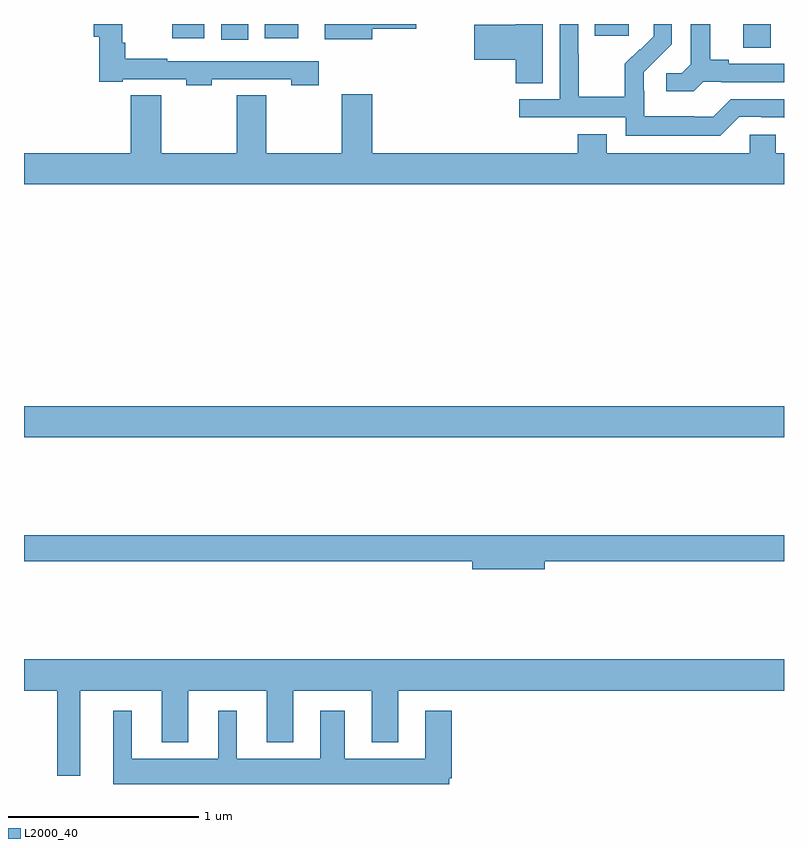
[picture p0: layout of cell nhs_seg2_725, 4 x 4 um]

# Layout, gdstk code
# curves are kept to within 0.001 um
import gdstk
lib = gdstk.Library(unit=1e-6, precision=1e-09)
def R(c, l, rs):  # rectangles x0, y0, x1, y1
    for r in rs: c.add(gdstk.rectangle(r[:2], r[2:], *l))
def P(c, l, *ps):  # polygons
    for p in ps: c.add(gdstk.Polygon(p, *l))
L2000_40 = (2000, 40)

nhs_seg2_725 = lib.new_cell('nhs_seg2_725')
R(nhs_seg2_725, L2000_40, [(147,659.624,151,659.788), (150.785,661.675,150.93,661.8), (148.037,661.716,148.18,661.8), (147.779,661.724,147.949,661.8), (148.268,661.724,148.444,661.8), (150.005,661.737,150.184,661.8)])
P(nhs_seg2_725, L2000_40, [(150.765,661.311),(150.881,661.311),(150.881,661.308),(151,661.307),(151,661.404),(150.72,661.404),(150.627,661.311),(150.527,661.311),(150.527,661.315),(150.264,661.315),(150.264,661.449),(150.262,661.449),(150.262,661.546),(150.408,661.694),(150.408,661.8),(150.314,661.8),(150.314,661.736),(150.243,661.665),(150.24,661.668),(150.163,661.591),(150.163,661.417),(149.919,661.417),(149.919,661.64),(149.916,661.64),(149.916,661.8),(149.82,661.8),(149.82,661.404),(149.607,661.404),(149.607,661.308),(150.168,661.308),(150.168,661.211),(150.665,661.211)],
  [(147.987,661.509),(148.407,661.509),(148.407,661.477),(148.552,661.477),(148.552,661.605),(147.755,661.605),(147.755,661.618),(147.533,661.618),(147.533,661.702),(147.518,661.702),(147.518,661.8),(147.368,661.8),(147.368,661.733),(147.397,661.733),(147.397,661.497),(147.52,661.497),(147.52,661.509),(147.855,661.509),(147.855,661.477),(147.987,661.477)],
  [(149.731,661.8),(149.588,661.8),(149.588,661.796),(149.37,661.796),(149.37,661.613),(149.588,661.613),(149.588,661.489),(149.731,661.489)],
  [(150.576,661.497),(150.67,661.497),(150.67,661.494),(151,661.494),(151,661.59),(150.709,661.59),(150.709,661.613),(150.613,661.613),(150.613,661.8),(150.509,661.8),(150.509,661.589),(150.462,661.542),(150.381,661.542),(150.381,661.445),(150.524,661.445)],
  [(148.834,661.775),(149.065,661.775),(149.065,661.8),(148.583,661.8),(148.583,661.721),(148.834,661.721)],
  [(151,661.12),(150.957,661.12),(150.957,661.218),(150.819,661.218),(150.819,661.12),(150.067,661.12),(150.067,661.219),(149.915,661.219),(149.915,661.12),(148.832,661.12),(148.832,661.429),(148.672,661.429),(148.672,661.12),(148.274,661.12),(148.274,661.424),(148.12,661.424),(148.12,661.12),(147.722,661.12),(147.722,661.424),(147.563,661.424),(147.563,661.12),(147,661.12),(147,660.956),(151,660.956)],
  [(149.74,658.972),(151,658.972),(151,659.108),(147,659.108),(147,658.972),(149.36,658.972),(149.36,658.93),(149.74,658.93)],
  [(147.295,658.292),(147.725,658.292),(147.725,658.019),(147.865,658.019),(147.865,658.292),(148.277,658.292),(148.277,658.019),(148.417,658.019),(148.417,658.292),(148.829,658.292),(148.829,658.019),(148.969,658.019),(148.969,658.292),(151,658.292),(151,658.456),(147,658.456),(147,658.292),(147.174,658.292),(147.174,657.843),(147.295,657.843)],
  [(149.239,657.83),(149.252,657.83),(149.252,658.186),(149.111,658.186),(149.111,657.934),(148.687,657.934),(148.687,658.186),(148.559,658.186),(148.559,657.934),(148.12,657.934),(148.12,658.186),(148.022,658.186),(148.022,657.934),(147.568,657.934),(147.568,658.186),(147.47,658.186),(147.47,657.8),(149.239,657.8)])

lib.write_gds('nhs_seg2_725.gds')
